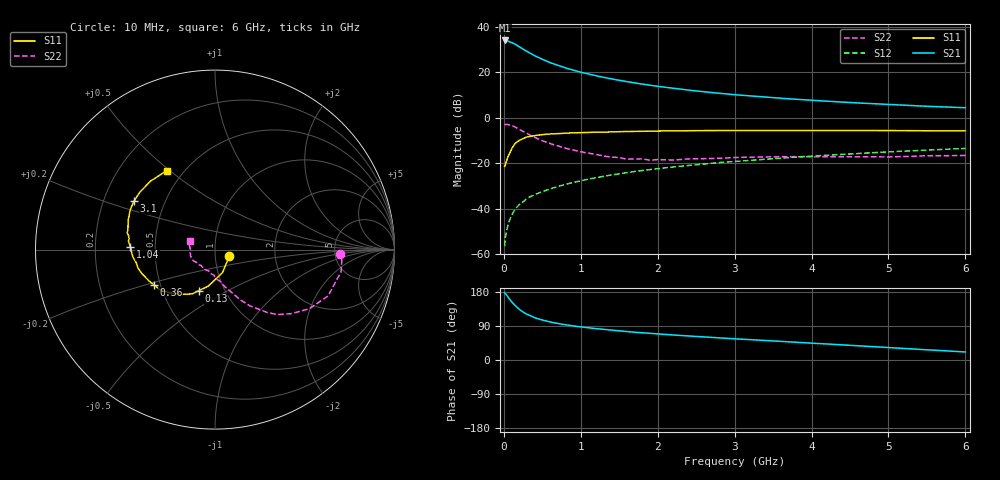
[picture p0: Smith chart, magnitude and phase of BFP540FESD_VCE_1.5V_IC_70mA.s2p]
! Infineon Technologies  Discrete & RF Semiconductors
! BFP540FESD
! VCE =  1.5 V,  IC =  70 mA
! Common Emitter S-Parameters:  Nov 2015
# GHz  S  MA  R  50
!  f  S11  S21  S12  S22
! GHz  MAG  ANG  MAG  ANG  MAG  ANG  MAG  ANG
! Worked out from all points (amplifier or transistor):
!   210 points, 10 MHz to 6 GHz, reference 50 ohm
!   highest |S21| = 34.0 dB at 10 MHz (marker M1)
!   |S21| within 3 dB of that: start of sweep to 211.9 MHz
!   unconditionally stable (mu >= 1): start of sweep to 72.77 MHz; 677 MHz to end of sweep
!   at 185 MHz: K = 0.74, MSG = 35.1 dB, |S12| = -38.7 dB
!   at 1.52 GHz: K = 1.13, MAG = 18.3 dB, |S12| = -24.5 dB
!   at 6 GHz: K = 1.25, MAG = 6.0 dB, |S12| = -13.5 dB
!   S11 on the Smith chart (normalised r, x): 10 MHz: 1.16, -0.09; 130 MHz: 0.76, -0.37; 360 MHz: 0.46, -0.21; 1.04 GHz: 0.36, +0.01; 3.1 GHz: 0.33, +0.25; 6 GHz: 0.41, +0.49
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0.01  0.0848 -26.7  50.14 177.6  0.0015 121.5  0.6961 -1.8
0.02  0.0946 -44.3  48.64 175.3  0.0024 107.0  0.7095 -1.7
0.05  0.1348 -71.9  48.79 167.1  0.0041 85.8  0.7132 -10.0
0.1  0.2065 -100.4  45.5 153.7  0.0071 80.8  0.6806 -22.3
0.13  0.2464 -111.6  42.76 147.4  0.0088 76.5  0.6426 -27.9
0.15  0.2769 -117.1  41.24 142.8  0.0099 74.4  0.621 -32.0
0.2  0.3174 -128.0  36.54 133.6  0.0123 69.9  0.5548 -40.0
0.24  0.3427 -135.1  33.15 128.1  0.0137 70.2  0.5111 -45.0
0.3  0.3793 -143.9  28.81 120.5  0.0169 67.5  0.4496 -50.7
0.36  0.3937 -150.3  25.39 115.6  0.0189 68.4  0.4013 -54.7
0.4  0.4059 -154.3  23.23 111.6  0.0203 68.9  0.3704 -58.0
0.5  0.4276 -161.5  19.3 105.2  0.0237 68.8  0.3116 -63.5
0.6  0.4408 -166.4  16.36 100.4  0.0272 68.7  0.2701 -67.1
0.8  0.4598 -174.9  12.5 92.9  0.0343 69.2  0.2146 -75.1
1.02  0.4698 178.7  9.865 86.9  0.0418 69.2  0.1758 -82.0
1.04  0.4714 178.2  9.685 86.4  0.0425 69.1  0.1734 -83.1
1.5  0.4979 169.3  6.652 76.8  0.0586 67.0  0.1328 -102.8
2.02  0.5119 160.6  4.863 68.5  0.0766 63.6  0.1202 -126.2
3.1  0.5254 149.1  3.119 54.9  0.1125 57.0  0.1349 -152.6
4.1  0.5258 141.2  2.368 43.4  0.1466 50.3  0.1399 -167.5
5.1  0.5225 132.2  1.929 31.6  0.1813 41.9  0.1391 177.0
6  0.5157 121.5  1.663 21.2  0.2119 33.8  0.1479 160.0
